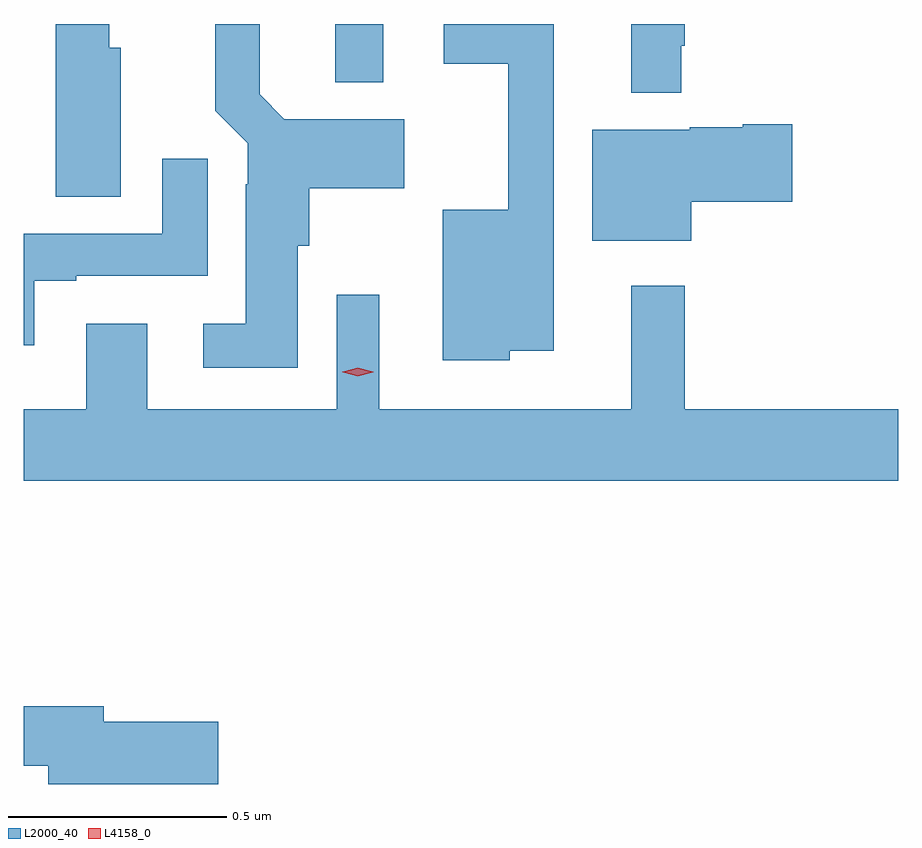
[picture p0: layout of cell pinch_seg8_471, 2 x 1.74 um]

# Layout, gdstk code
import gdstk
lib = gdstk.Library(unit=1e-6, precision=1e-09)
def R(c, l, rs):  # rectangles x0, y0, x1, y1
    for r in rs: c.add(gdstk.rectangle(r[:2], r[2:], *l))
def P(c, l, *ps):  # polygons
    for p in ps: c.add(gdstk.Polygon(p, *l))
L2000_40 = (2000, 40)
L4158_0 = (4158, 0)

pinch_seg8_471 = lib.new_cell('pinch_seg8_471')
R(pinch_seg8_471, L2000_40, [(175.547,1142.72,175.657,1142.853)])
P(pinch_seg8_471, L2000_40, [(176.339,1142.803),(176.347,1142.803),(176.347,1142.853),(176.225,1142.853),(176.225,1142.696),(176.339,1142.696)],
  [(175.947,1142.105),(176.047,1142.105),(176.047,1142.853),(175.796,1142.853),(175.796,1142.762),(175.943,1142.762),(175.943,1142.428),(175.793,1142.428),(175.793,1142.084),(175.947,1142.084)],
  [(175.462,1142.346),(175.488,1142.346),(175.488,1142.477),(175.705,1142.477),(175.705,1142.635),(175.431,1142.635),(175.375,1142.692),(175.375,1142.853),(175.273,1142.853),(175.273,1142.654),(175.347,1142.58),(175.347,1142.486),(175.343,1142.486),(175.343,1142.167),(175.245,1142.167),(175.245,1142.066),(175.462,1142.066)],
  [(175.057,1142.799),(175.03,1142.799),(175.03,1142.853),(174.908,1142.853),(174.908,1142.458),(175.057,1142.458)],
  [(176.362,1142.446),(176.593,1142.446),(176.593,1142.624),(176.48,1142.624),(176.48,1142.617),(176.358,1142.617),(176.358,1142.611),(176.135,1142.611),(176.135,1142.357),(176.362,1142.357)],
  [(174.859,1142.265),(174.955,1142.265),(174.955,1142.277),(175.255,1142.277),(175.255,1142.545),(175.151,1142.545),(175.151,1142.373),(174.835,1142.373),(174.835,1142.118),(174.859,1142.118)],
  [(176.835,1141.972),(176.347,1141.972),(176.347,1142.254),(176.225,1142.254),(176.225,1141.972),(175.648,1141.972),(175.648,1142.233),(175.551,1142.233),(175.551,1141.972),(175.117,1141.972),(175.117,1142.167),(174.977,1142.167),(174.977,1141.972),(174.835,1141.972),(174.835,1141.808),(176.835,1141.808)],
  [(175.279,1141.256),(175.018,1141.256),(175.018,1141.292),(174.835,1141.292),(174.835,1141.156),(174.89,1141.156),(174.89,1141.114),(175.279,1141.114)])
P(pinch_seg8_471, L4158_0, [(175.599,1142.047),(175.564,1142.056),(175.563,1142.057),(175.564,1142.057),(175.599,1142.067),(175.634,1142.057),(175.634,1142.057),(175.634,1142.056)])

lib.write_gds('pinch_seg8_471.gds')
